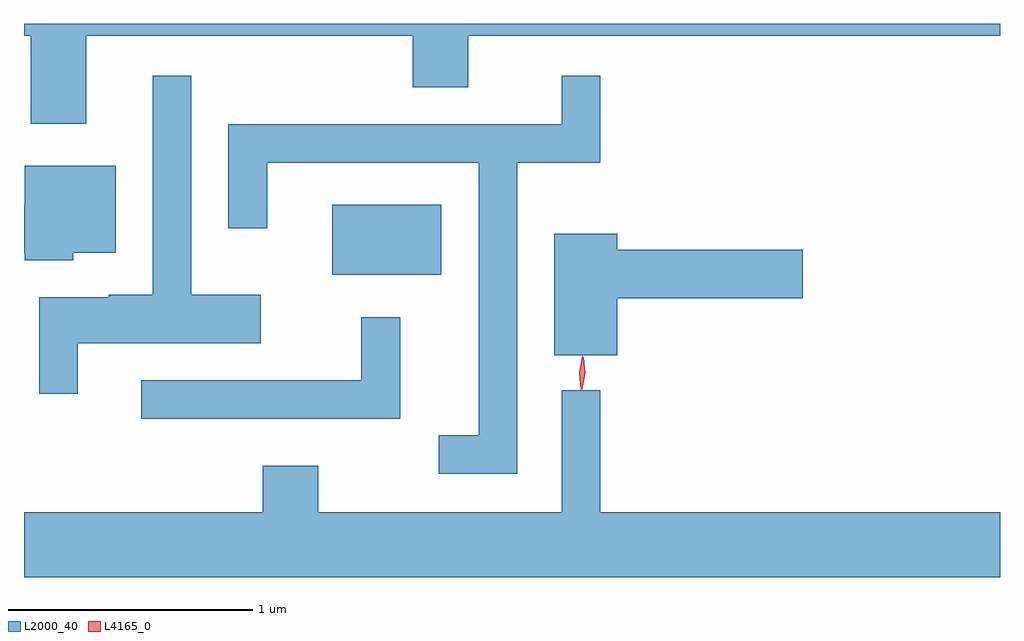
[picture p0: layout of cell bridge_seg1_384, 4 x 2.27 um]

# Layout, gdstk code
import gdstk
lib = gdstk.Library(unit=1e-6, precision=1e-09)
def R(c, l, rs):  # rectangles x0, y0, x1, y1
    for r in rs: c.add(gdstk.rectangle(r[:2], r[2:], *l))
def P(c, l, *ps):  # polygons
    for p in ps: c.add(gdstk.Polygon(p, *l))
L2000_40 = (2000, 40)
L4165_0 = (4165, 0)

bridge_seg1_384 = lib.new_cell('bridge_seg1_384')
R(bridge_seg1_384, L2000_40, [(608.016,969.636,608.464,969.924)])
P(bridge_seg1_384, L2000_40, [(607.009,970.616),(608.346,970.616),(608.346,970.406),(608.574,970.406),(608.574,970.616),(610.753,970.616),(610.753,970.666),(606.753,970.666),(606.753,970.616),(606.781,970.616),(606.781,970.256),(607.009,970.256)],
  [(608.774,970.096),(609.114,970.096),(609.114,970.453),(608.956,970.453),(608.956,970.254),(607.591,970.254),(607.591,969.828),(607.749,969.828),(607.749,970.096),(608.616,970.096),(608.616,968.979),(608.453,968.979),(608.453,968.821),(608.774,968.821)],
  [(606.974,969.356),(607.724,969.356),(607.724,969.554),(607.439,969.554),(607.439,970.453),(607.281,970.453),(607.281,969.554),(607.1,969.554),(607.1,969.544),(606.816,969.544),(606.816,969.148),(606.974,969.148)],
  [(606.954,969.726),(607.129,969.726),(607.129,970.084),(606.756,970.084),(606.756,969.924),(606.753,969.924),(606.753,969.726),(606.756,969.726),(606.756,969.696),(606.954,969.696)],
  [(609.184,969.541),(609.944,969.541),(609.944,969.739),(609.184,969.739),(609.184,969.804),(608.926,969.804),(608.926,969.306),(609.184,969.306)],
  [(608.294,969.463),(608.136,969.463),(608.136,969.204),(607.233,969.204),(607.233,969.046),(608.294,969.046)],
  [(610.753,968.664),(609.114,968.664),(609.114,969.163),(608.956,969.163),(608.956,968.664),(607.959,968.664),(607.959,968.854),(607.731,968.854),(607.731,968.664),(606.753,968.664),(606.753,968.396),(610.753,968.396)])
P(bridge_seg1_384, L4165_0, [(609.035,969.165),(609.034,969.166),(609.028,969.234),(609.041,969.302),(609.042,969.302),(609.042,969.302),(609.048,969.233),(609.035,969.166)],
  [(609.039,969.168),(609.033,969.234),(609.046,969.299),(609.047,969.299),(609.048,969.299),(609.053,969.233),(609.04,969.168),(609.04,969.168)])

lib.write_gds('bridge_seg1_384.gds')
